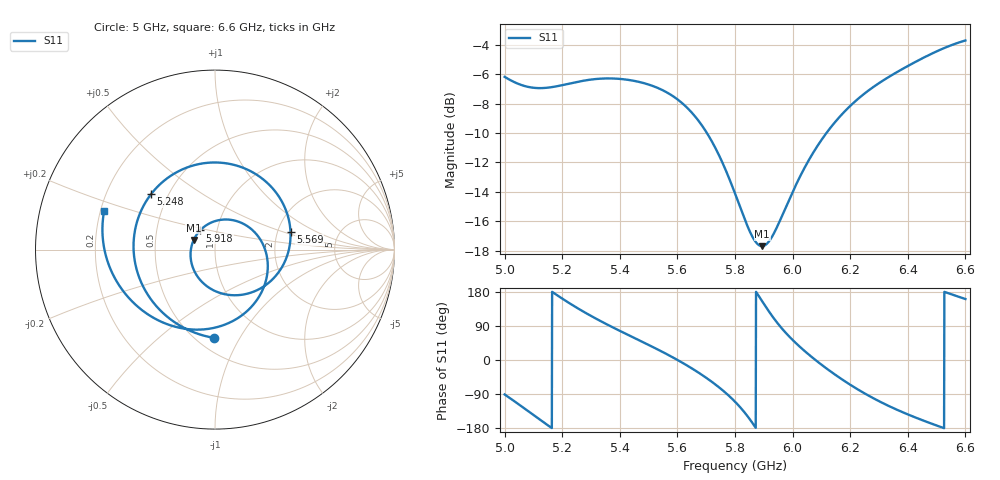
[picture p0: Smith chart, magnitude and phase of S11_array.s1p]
! openEMS
# GHZ S MA R 50
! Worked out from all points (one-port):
!   1601 points, 5 GHz to 6.6 GHz, reference 50 ohm
!   lowest |S11| = -17.7 dB at 5.894 GHz (marker M1), VSWR 1.30, Z = 39.2 + j4.31 ohm
!   |S11| at or under -10 dB: 5.703 GHz to 6.117 GHz (414.6 MHz wide, 7.01 % of centre)
!   S11 on the Smith chart (normalised r, x): 5 GHz: 0.60, -0.78; 5.248 GHz: 0.40, +0.32; 5.569 GHz: 2.36, +0.57; 5.918 GHz: 0.83, +0.18; 6.6 GHz: 0.21, +0.16
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5  0.4915 -90.9
5.051  0.4638 -118.0
5.109  0.4504 -150.0
5.154  0.452 -174.3
5.2  0.4605 162.0
5.248  0.4715 139.2
5.323  0.4838 106.8
5.4  0.4837 76.9
5.491  0.4657 43.2
5.569  0.4319 13.1
5.6  0.4121 0.2
5.65  0.3713 -22.1
5.708  0.3101 -51.2
5.753  0.2551 -77.3
5.8  0.1971 -110.0
5.848  0.1488 -152.9
5.894  0.1303 155.5
5.918  0.1353 127.9
5.96  0.1624 85.7
6  0.1992 53.0
6.056  0.2556 14.5
6.103  0.3024 -14.0
6.149  0.3462 -39.4
6.2  0.3913 -65.2
6.293  0.4629 -105.9
6.4  0.535 -143.5
6.502  0.6013 -173.4
6.6  0.6538 161.0
